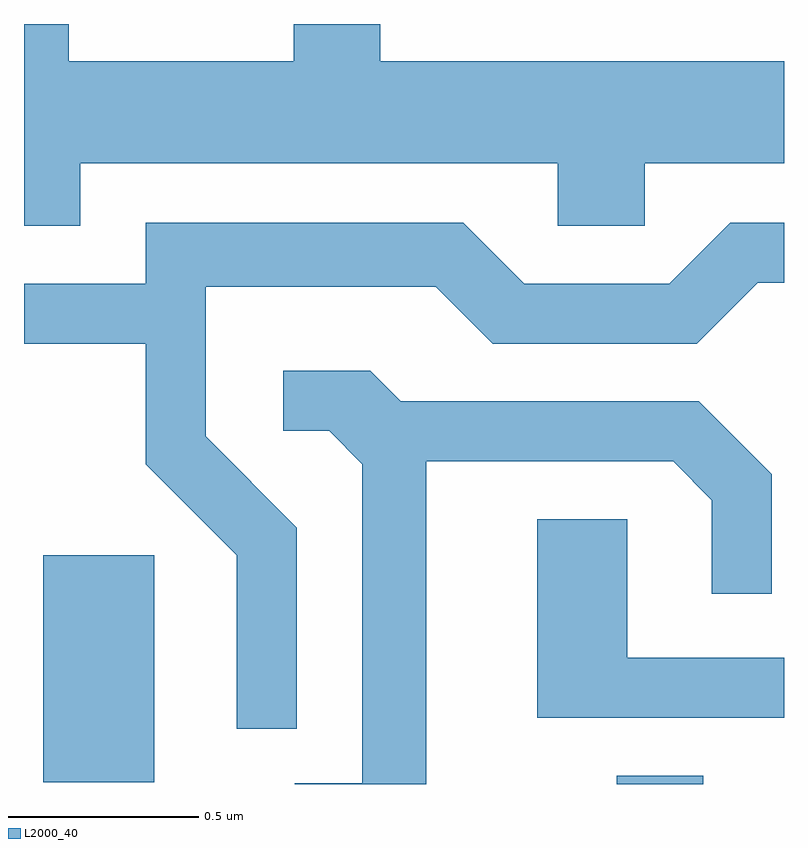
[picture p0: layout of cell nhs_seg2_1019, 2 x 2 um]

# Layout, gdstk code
import gdstk
lib = gdstk.Library(unit=1e-6, precision=1e-09)
def R(c, l, rs):  # rectangles x0, y0, x1, y1
    for r in rs: c.add(gdstk.rectangle(r[:2], r[2:], *l))
def P(c, l, *ps):  # polygons
    for p in ps: c.add(gdstk.Polygon(p, *l))
L2000_40 = (2000, 40)

nhs_seg2_1019 = lib.new_cell('nhs_seg2_1019')
R(nhs_seg2_1019, L2000_40, [(194.171,1037.802,194.399,1037.824), (192.661,1037.806,192.954,1038.404)])
P(nhs_seg2_1019, L2000_40, [(192.759,1039.436),(194.016,1039.436),(194.016,1039.271),(194.244,1039.271),(194.244,1039.436),(194.611,1039.436),(194.611,1039.704),(193.549,1039.704),(193.549,1039.802),(193.321,1039.802),(193.321,1039.704),(192.729,1039.704),(192.729,1039.802),(192.611,1039.802),(192.611,1039.271),(192.759,1039.271)],
  [(193.329,1038.477),(193.089,1038.717),(193.089,1039.111),(193.694,1039.111),(193.844,1038.961),(194.382,1038.961),(194.542,1039.121),(194.611,1039.121),(194.611,1039.279),(194.469,1039.279),(194.309,1039.119),(193.927,1039.119),(193.767,1039.279),(192.931,1039.279),(192.931,1039.119),(192.611,1039.119),(192.611,1038.961),(192.931,1038.961),(192.931,1038.644),(193.171,1038.404),(193.171,1037.948),(193.329,1037.948)],
  [(193.669,1038.651),(194.319,1038.651),(194.421,1038.549),(194.421,1038.303),(194.579,1038.303),(194.579,1038.617),(194.387,1038.809),(193.602,1038.809),(193.522,1038.889),(193.293,1038.889),(193.293,1038.731),(193.414,1038.731),(193.501,1038.644),(193.501,1037.804),(193.323,1037.804),(193.323,1037.802),(193.669,1037.802)],
  [(194.611,1038.134),(194.199,1038.134),(194.199,1038.499),(193.961,1038.499),(193.961,1037.976),(194.611,1037.976)])

lib.write_gds('nhs_seg2_1019.gds')
